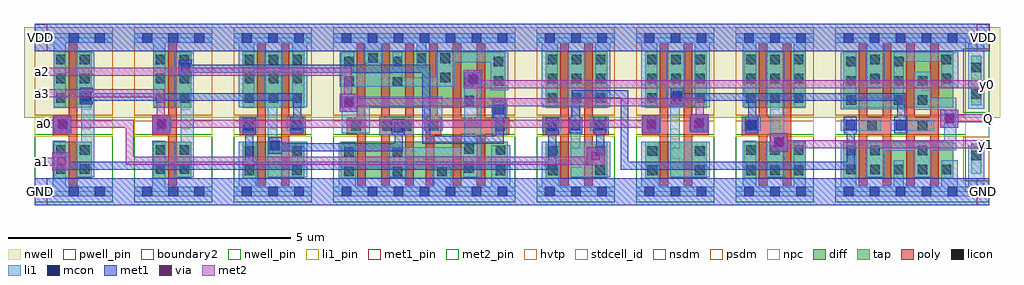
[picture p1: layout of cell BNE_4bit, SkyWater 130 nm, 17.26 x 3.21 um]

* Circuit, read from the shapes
.subckt BNE_4bit GND Q VDD a0 a1 a2 a3 y0 y1
XM1 sky130_fd_sc_hd__nand2_1_5/A a0 GND GND sky130_fd_pr__nfet_01v8 w=0.65 l=0.15
XM2 sky130_fd_sc_hd__a21oi_2_4/B1 a3 GND GND sky130_fd_pr__nfet_01v8 w=0.65 l=0.15
XM3 n1 a1 GND GND sky130_fd_pr__nfet_01v8 w=0.65 l=0.15
XM4 sky130_fd_sc_hd__a21oi_2_4/A1 sky130_fd_sc_hd__nand2_1_5/A n1 GND sky130_fd_pr__nfet_01v8 w=0.65 l=0.15
XM5 n2 a2 GND GND sky130_fd_pr__nfet_01v8 w=0.65 l=0.15
XM6 y0 sky130_fd_sc_hd__a21oi_2_4/A1 n2 GND sky130_fd_pr__nfet_01v8 w=0.65 l=0.15
XM7 n3 sky130_fd_sc_hd__a21oi_2_4/A1 y0 GND sky130_fd_pr__nfet_01v8 w=0.65 l=0.15
XM8 GND a2 n3 GND sky130_fd_pr__nfet_01v8 w=0.65 l=0.15
XM9 y0 sky130_fd_sc_hd__a21oi_2_4/B1 GND GND sky130_fd_pr__nfet_01v8 w=0.65 l=0.15 m=2
XM10 n4 a1 GND GND sky130_fd_pr__nfet_01v8 w=0.65 l=0.15
XM11 sky130_fd_sc_hd__nor2_2_0/A a0 n4 GND sky130_fd_pr__nfet_01v8 w=0.65 l=0.15
XM12 n5 a3 GND GND sky130_fd_pr__nfet_01v8 w=0.65 l=0.15
XM13 sky130_fd_sc_hd__inv_2_2/A a2 n5 GND sky130_fd_pr__nfet_01v8 w=0.65 l=0.15
XM14 y1 sky130_fd_sc_hd__inv_2_2/A GND GND sky130_fd_pr__nfet_01v8 w=0.65 l=0.15 m=2
XM15 Q sky130_fd_sc_hd__nor2_2_0/A GND GND sky130_fd_pr__nfet_01v8 w=0.65 l=0.15 m=2
XM16 Q sky130_fd_sc_hd__inv_2_2/A GND GND sky130_fd_pr__nfet_01v8 w=0.65 l=0.15 m=2
XM17 sky130_fd_sc_hd__nand2_1_5/A a0 VDD VDD sky130_fd_pr__pfet_01v8_hvt w=1 l=0.15
XM18 sky130_fd_sc_hd__a21oi_2_4/B1 a3 VDD VDD sky130_fd_pr__pfet_01v8_hvt w=1 l=0.15
XM19 sky130_fd_sc_hd__a21oi_2_4/A1 a1 VDD VDD sky130_fd_pr__pfet_01v8_hvt w=1 l=0.15
XM20 VDD sky130_fd_sc_hd__nand2_1_5/A sky130_fd_sc_hd__a21oi_2_4/A1 VDD sky130_fd_pr__pfet_01v8_hvt w=1 l=0.15
XM21 VDD a2 n6 VDD sky130_fd_pr__pfet_01v8_hvt w=1 l=0.15 m=2
XM22 n6 sky130_fd_sc_hd__a21oi_2_4/A1 VDD VDD sky130_fd_pr__pfet_01v8_hvt w=1 l=0.15 m=2
XM23 y0 sky130_fd_sc_hd__a21oi_2_4/B1 n6 VDD sky130_fd_pr__pfet_01v8_hvt w=1 l=0.15 m=2
XM24 sky130_fd_sc_hd__nor2_2_0/A a1 VDD VDD sky130_fd_pr__pfet_01v8_hvt w=1 l=0.15
XM25 VDD a0 sky130_fd_sc_hd__nor2_2_0/A VDD sky130_fd_pr__pfet_01v8_hvt w=1 l=0.15
XM26 sky130_fd_sc_hd__inv_2_2/A a3 VDD VDD sky130_fd_pr__pfet_01v8_hvt w=1 l=0.15
XM27 VDD a2 sky130_fd_sc_hd__inv_2_2/A VDD sky130_fd_pr__pfet_01v8_hvt w=1 l=0.15
XM28 y1 sky130_fd_sc_hd__inv_2_2/A VDD VDD sky130_fd_pr__pfet_01v8_hvt w=1 l=0.15 m=2
XM29 VDD sky130_fd_sc_hd__nor2_2_0/A n7 VDD sky130_fd_pr__pfet_01v8_hvt w=1 l=0.15 m=2
XM30 Q sky130_fd_sc_hd__inv_2_2/A n7 VDD sky130_fd_pr__pfet_01v8_hvt w=1 l=0.15 m=2
.ends

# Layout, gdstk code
import gdstk
lib = gdstk.Library(unit=1e-6, precision=1e-09)
def R(c, l, rs):  # rectangles x0, y0, x1, y1
    for r in rs: c.add(gdstk.rectangle(r[:2], r[2:], *l))
def A(c, l, x, y, w, h, nx, ny, dx, dy):  # array of equal rectangles
    R(c, l, [(x+i*dx, y+j*dy, x+i*dx+w, y+j*dy+h) for i in range(nx) for j in range(ny)])
def P(c, l, *ps):  # polygons
    for p in ps: c.add(gdstk.Polygon(p, *l))
nwell_pin = (64, 16)
nwell = (64, 20)
diff = (65, 20)
tap = (65, 44)
poly = (66, 20)
licon = (66, 44)
li1_pin = (67, 16)
li1 = (67, 20)
mcon = (67, 44)
met1_pin = (68, 16)
met1 = (68, 20)
via = (68, 44)
met2_pin = (69, 16)
met2 = (69, 20)
hvtp = (78, 44)
stdcell_id = (81, 4)
nsdm = (93, 44)
psdm = (94, 20)
npc = (95, 20)
pwell_pin = (122, 16)
boundary2 = (236, 0)

sky130_fd_sc_hd__nor2_2 = lib.new_cell('sky130_fd_sc_hd__nor2_2')
R(sky130_fd_sc_hd__nor2_2, nwell_pin, [(0.15,2.635,0.32,2.805)])
R(sky130_fd_sc_hd__nor2_2, nwell, [(-0.19,1.305,2.49,2.91)])
R(sky130_fd_sc_hd__nor2_2, diff, [(0.135,0.235,2.085,0.885), (0.135,1.485,2.085,2.485)])
P(sky130_fd_sc_hd__nor2_2, poly, [(0.985,2.615),(0.835,2.615),(0.835,1.325),(0.565,1.325),(0.565,2.615),(0.415,2.615),(0.415,0.105),(0.565,0.105),(0.565,0.995),(0.835,0.995),(0.835,0.105),(0.985,0.105)],
  [(1.825,2.615),(1.675,2.615),(1.675,1.325),(1.405,1.325),(1.405,2.615),(1.255,2.615),(1.255,0.105),(1.405,0.105),(1.405,0.995),(1.675,0.995),(1.675,0.105),(1.825,0.105)])
A(sky130_fd_sc_hd__nor2_2, licon, 0.195, 0.305, 0.17, 0.17, 5, 1, 0.42, 0)
A(sky130_fd_sc_hd__nor2_2, licon, 0.195, 1.535, 0.17, 0.17, 1, 3, 0, 0.34)
A(sky130_fd_sc_hd__nor2_2, licon, 1.035, 1.535, 0.17, 0.17, 1, 3, 0, 0.34)
R(sky130_fd_sc_hd__nor2_2, licon, [(0.195,0.645,0.365,0.815), (0.615,0.645,0.785,0.815), (1.455,0.645,1.625,0.815), (0.56,1.075,0.73,1.245), (1.455,1.075,1.625,1.245), (1.455,1.535,1.625,1.705), (1.455,1.875,1.625,2.045), (0.615,1.915,0.785,2.085), (1.875,1.915,2.045,2.085), (0.615,2.255,0.785,2.425), (1.875,2.255,2.045,2.425)])
A(sky130_fd_sc_hd__nor2_2, li1_pin, 0.15, 1.105, 0.17, 0.17, 4, 1, 0.46, 0)
R(sky130_fd_sc_hd__nor2_2, li1_pin, [(1.53,1.785,1.7,1.955)])
R(sky130_fd_sc_hd__nor2_2, li1, [(0.09,1.075,0.81,1.275), (0.98,1.075,1.75,1.275)])
P(sky130_fd_sc_hd__nor2_2, li1, [(2.3,0.085),(2.165,0.085),(2.165,0.555),(1.875,0.555),(1.875,0.085),(1.205,0.085),(1.205,0.555),(1.035,0.555),(1.035,0.085),(0.365,0.085),(0.365,0.905),(0.09,0.905),(0.09,0.085),(0,0.085),(0,-0.085),(2.3,-0.085)],
  [(2.3,2.805),(0,2.805),(0,2.635),(0.535,2.635),(0.535,1.835),(0.865,1.835),(0.865,2.635),(2.3,2.635)],
  [(2.135,1.665),(1.705,1.665),(1.705,2.125),(1.375,2.125),(1.375,1.445),(1.92,1.445),(1.92,0.905),(0.535,0.905),(0.535,0.255),(0.865,0.255),(0.865,0.725),(1.375,0.725),(1.375,0.255),(1.705,0.255),(1.705,0.735),(2.135,0.735)],
  [(2.175,2.465),(1.035,2.465),(1.035,1.665),(0.365,1.665),(0.365,2.465),(0.09,2.465),(0.09,1.455),(1.205,1.455),(1.205,2.295),(1.875,2.295),(1.875,1.835),(2.175,1.835)])
A(sky130_fd_sc_hd__nor2_2, mcon, 0.145, -0.085, 0.17, 0.17, 5, 2, 0.46, 2.72)
R(sky130_fd_sc_hd__nor2_2, met1_pin, [(0.15,-0.085,0.32,0.085), (0.15,2.635,0.32,2.805)])
R(sky130_fd_sc_hd__nor2_2, hvtp, [(0,1.25,2.3,2.72)])
R(sky130_fd_sc_hd__nor2_2, stdcell_id, [(0,0,2.3,2.72)])
R(sky130_fd_sc_hd__nor2_2, nsdm, [(0,-0.19,2.3,1.015)])
R(sky130_fd_sc_hd__nor2_2, psdm, [(0,1.355,2.3,2.91)])
R(sky130_fd_sc_hd__nor2_2, npc, [(0,0.975,2.3,1.345)])
R(sky130_fd_sc_hd__nor2_2, pwell_pin, [(0.15,-0.085,0.32,0.085)])
R(sky130_fd_sc_hd__nor2_2, boundary2, [(0,0,2.3,2.72)])
sky130_fd_sc_hd__nor2_2.add(gdstk.FlexPath([(0,2.72),(2.3,2.72)], 0.48, ends="flush", simple_path=True, layer=68, datatype=20))  # met1
sky130_fd_sc_hd__nor2_2.add(gdstk.FlexPath([(0,0),(2.3,0)], 0.48, ends="flush", simple_path=True, layer=68, datatype=20))  # met1
sky130_fd_sc_hd__nor2_2.add(gdstk.Label('B', (1.155,1.19), layer=67, texttype=5))
sky130_fd_sc_hd__nor2_2.add(gdstk.Label('Y', (1.615,1.87), layer=67, texttype=5))
sky130_fd_sc_hd__nor2_2.add(gdstk.Label('A', (0.235,1.19), layer=67, texttype=5))
sky130_fd_sc_hd__nor2_2.add(gdstk.Label('VPB', (0.235,2.72), layer=64, texttype=5))
sky130_fd_sc_hd__nor2_2.add(gdstk.Label('VNB', (0.235,0), layer=64, texttype=59))
sky130_fd_sc_hd__nor2_2.add(gdstk.Label('VGND', (0.235,0), layer=68, texttype=5))
sky130_fd_sc_hd__nor2_2.add(gdstk.Label('VPWR', (0.235,2.72), layer=68, texttype=5))
sky130_fd_sc_hd__nor2_2.add(gdstk.Label('nor2_2', (0,0), layer=83, texttype=44))

sky130_fd_sc_hd__nand2_1 = lib.new_cell('sky130_fd_sc_hd__nand2_1')
R(sky130_fd_sc_hd__nand2_1, nwell_pin, [(0.14,2.635,0.31,2.805)])
R(sky130_fd_sc_hd__nand2_1, nwell, [(-0.19,1.305,1.57,2.91)])
R(sky130_fd_sc_hd__nand2_1, diff, [(0.155,0.235,1.245,0.885), (0.155,1.485,1.245,2.485)])
P(sky130_fd_sc_hd__nand2_1, poly, [(1.275,1.325),(0.985,1.325),(0.985,2.615),(0.835,2.615),(0.835,0.105),(0.985,0.105),(0.985,0.995),(1.275,0.995)],
  [(0.565,2.615),(0.415,2.615),(0.415,1.325),(0.105,1.325),(0.105,0.995),(0.415,0.995),(0.415,0.105),(0.565,0.105)])
A(sky130_fd_sc_hd__nand2_1, licon, 0.195, 1.575, 0.17, 0.17, 3, 3, 0.42, 0.34)
R(sky130_fd_sc_hd__nand2_1, licon, [(0.195,0.295,0.365,0.465), (1.035,0.295,1.205,0.465), (0.195,0.635,0.365,0.805), (1.035,0.635,1.205,0.805), (0.18,1.075,0.35,1.245), (1.02,1.075,1.19,1.245)])
A(sky130_fd_sc_hd__nand2_1, li1_pin, 0.14, 1.105, 0.17, 0.17, 3, 1, 0.46, 0)
R(sky130_fd_sc_hd__nand2_1, li1_pin, [(0.6,0.425,0.77,0.595), (0.6,0.765,0.77,0.935)])
R(sky130_fd_sc_hd__nand2_1, li1, [(0.095,1.055,0.43,1.325), (0.94,1.075,1.275,1.325)])
P(sky130_fd_sc_hd__nand2_1, li1, [(1.38,0.085),(0.395,0.085),(0.395,0.885),(0.085,0.885),(0.085,0.085),(0,0.085),(0,-0.085),(1.38,-0.085)],
  [(1.38,2.805),(0,2.805),(0,2.635),(0.085,2.635),(0.085,1.495),(0.365,1.495),(0.365,2.635),(1.035,2.635),(1.035,1.495),(1.295,1.495),(1.295,2.635),(1.38,2.635)],
  [(1.295,0.885),(0.77,0.885),(0.77,1.485),(0.865,1.485),(0.865,2.465),(0.535,2.465),(0.535,1.485),(0.6,1.485),(0.6,0.255),(1.295,0.255)])
A(sky130_fd_sc_hd__nand2_1, mcon, 0.145, -0.085, 0.17, 0.17, 3, 2, 0.46, 2.72)
R(sky130_fd_sc_hd__nand2_1, met1_pin, [(0.14,-0.085,0.31,0.085), (0.14,2.635,0.31,2.805)])
R(sky130_fd_sc_hd__nand2_1, hvtp, [(0,1.25,1.38,2.72)])
R(sky130_fd_sc_hd__nand2_1, stdcell_id, [(0,0,1.38,2.72)])
R(sky130_fd_sc_hd__nand2_1, nsdm, [(0,-0.19,1.38,1.015)])
R(sky130_fd_sc_hd__nand2_1, psdm, [(0,1.355,1.38,2.91)])
R(sky130_fd_sc_hd__nand2_1, npc, [(0,0.975,1.38,1.345)])
R(sky130_fd_sc_hd__nand2_1, pwell_pin, [(0.14,-0.085,0.31,0.085)])
R(sky130_fd_sc_hd__nand2_1, boundary2, [(0,0,1.38,2.72)])
sky130_fd_sc_hd__nand2_1.add(gdstk.FlexPath([(0,2.72),(1.38,2.72)], 0.48, ends="flush", simple_path=True, layer=68, datatype=20))  # met1
sky130_fd_sc_hd__nand2_1.add(gdstk.FlexPath([(0,0),(1.38,0)], 0.48, ends="flush", simple_path=True, layer=68, datatype=20))  # met1
sky130_fd_sc_hd__nand2_1.add(gdstk.Label('Y', (0.685,0.51), layer=67, texttype=5))
sky130_fd_sc_hd__nand2_1.add(gdstk.Label('Y', (0.685,0.85), layer=67, texttype=5))
sky130_fd_sc_hd__nand2_1.add(gdstk.Label('Y', (0.685,1.19), layer=67, texttype=5))
sky130_fd_sc_hd__nand2_1.add(gdstk.Label('B', (0.225,1.19), layer=67, texttype=5))
sky130_fd_sc_hd__nand2_1.add(gdstk.Label('A', (1.145,1.19), layer=67, texttype=5))
sky130_fd_sc_hd__nand2_1.add(gdstk.Label('VPB', (0.225,2.72), layer=64, texttype=5))
sky130_fd_sc_hd__nand2_1.add(gdstk.Label('VNB', (0.225,0), layer=64, texttype=59))
sky130_fd_sc_hd__nand2_1.add(gdstk.Label('VGND', (0.23,0), layer=68, texttype=5))
sky130_fd_sc_hd__nand2_1.add(gdstk.Label('VPWR', (0.225,2.72), layer=68, texttype=5))
sky130_fd_sc_hd__nand2_1.add(gdstk.Label('nand2_1', (0,0), layer=83, texttype=44))

sky130_fd_sc_hd__inv_2 = lib.new_cell('sky130_fd_sc_hd__inv_2')
R(sky130_fd_sc_hd__inv_2, nwell_pin, [(0.145,2.635,0.315,2.805)])
R(sky130_fd_sc_hd__inv_2, nwell, [(-0.19,1.305,1.57,2.91)])
R(sky130_fd_sc_hd__inv_2, diff, [(0.145,0.235,1.235,0.885), (0.145,1.485,1.235,2.485)])
P(sky130_fd_sc_hd__inv_2, poly, [(0.975,2.615),(0.825,2.615),(0.825,1.325),(0.555,1.325),(0.555,2.615),(0.405,2.615),(0.405,1.325),(0.105,1.325),(0.105,0.995),(0.405,0.995),(0.405,0.105),(0.555,0.105),(0.555,0.995),(0.825,0.995),(0.825,0.105),(0.975,0.105)])
A(sky130_fd_sc_hd__inv_2, licon, 0.185, 0.295, 0.17, 0.17, 3, 2, 0.42, 0.36)
A(sky130_fd_sc_hd__inv_2, licon, 0.185, 1.575, 0.17, 0.17, 3, 3, 0.42, 0.34)
R(sky130_fd_sc_hd__inv_2, licon, [(0.185,1.075,0.355,1.245)])
A(sky130_fd_sc_hd__inv_2, li1_pin, 0.605, 0.765, 0.17, 0.17, 1, 3, 0, 0.34)
R(sky130_fd_sc_hd__inv_2, li1_pin, [(0.145,1.105,0.315,1.275)])
R(sky130_fd_sc_hd__inv_2, li1, [(0.105,1.075,0.435,1.325)])
P(sky130_fd_sc_hd__inv_2, li1, [(1.38,2.805),(0,2.805),(0,2.635),(0.125,2.635),(0.125,1.495),(0.355,1.495),(0.355,2.635),(1.025,2.635),(1.025,1.495),(1.235,1.495),(1.235,2.635),(1.38,2.635)],
  [(0.855,2.465),(0.525,2.465),(0.525,1.485),(0.605,1.485),(0.605,0.885),(0.525,0.885),(0.525,0.255),(0.855,0.255)],
  [(1.38,0.085),(1.235,0.085),(1.235,0.905),(1.025,0.905),(1.025,0.085),(0.355,0.085),(0.355,0.905),(0.125,0.905),(0.125,0.085),(0,0.085),(0,-0.085),(1.38,-0.085)])
A(sky130_fd_sc_hd__inv_2, mcon, 0.145, -0.085, 0.17, 0.17, 3, 2, 0.46, 2.72)
R(sky130_fd_sc_hd__inv_2, met1_pin, [(0.145,-0.085,0.315,0.085), (0.145,2.635,0.315,2.805)])
R(sky130_fd_sc_hd__inv_2, hvtp, [(0,1.25,1.38,2.72)])
R(sky130_fd_sc_hd__inv_2, stdcell_id, [(0,0,1.38,2.72)])
R(sky130_fd_sc_hd__inv_2, nsdm, [(0,-0.19,1.38,1.015)])
R(sky130_fd_sc_hd__inv_2, psdm, [(0,1.355,1.38,2.91)])
R(sky130_fd_sc_hd__inv_2, npc, [(0,0.975,1.38,1.345)])
R(sky130_fd_sc_hd__inv_2, pwell_pin, [(0.145,-0.085,0.315,0.085)])
R(sky130_fd_sc_hd__inv_2, boundary2, [(0,0,1.38,2.72)])
sky130_fd_sc_hd__inv_2.add(gdstk.FlexPath([(0,2.72),(1.38,2.72)], 0.48, ends="flush", simple_path=True, layer=68, datatype=20))  # met1
sky130_fd_sc_hd__inv_2.add(gdstk.FlexPath([(0,0),(1.38,0)], 0.48, ends="flush", simple_path=True, layer=68, datatype=20))  # met1
sky130_fd_sc_hd__inv_2.add(gdstk.Label('A', (0.23,1.19), layer=67, texttype=5))
sky130_fd_sc_hd__inv_2.add(gdstk.Label('Y', (0.69,0.85), layer=67, texttype=5))
sky130_fd_sc_hd__inv_2.add(gdstk.Label('Y', (0.69,1.53), layer=67, texttype=5))
sky130_fd_sc_hd__inv_2.add(gdstk.Label('Y', (0.69,1.19), layer=67, texttype=5))
sky130_fd_sc_hd__inv_2.add(gdstk.Label('VPB', (0.23,2.72), layer=64, texttype=5))
sky130_fd_sc_hd__inv_2.add(gdstk.Label('VNB', (0.23,0), layer=64, texttype=59))
sky130_fd_sc_hd__inv_2.add(gdstk.Label('VPWR', (0.23,2.72), layer=68, texttype=5))
sky130_fd_sc_hd__inv_2.add(gdstk.Label('VGND', (0.23,0), layer=68, texttype=5))
sky130_fd_sc_hd__inv_2.add(gdstk.Label('inv_2', (0,0), layer=83, texttype=44))

sky130_fd_sc_hd__a21oi_2 = lib.new_cell('sky130_fd_sc_hd__a21oi_2')
R(sky130_fd_sc_hd__a21oi_2, nwell_pin, [(0.145,2.635,0.315,2.805)])
R(sky130_fd_sc_hd__a21oi_2, nwell, [(-0.19,1.305,3.41,2.91)])
R(sky130_fd_sc_hd__a21oi_2, diff, [(0.135,0.235,3.085,0.885), (0.135,1.485,3.045,2.485)])
R(sky130_fd_sc_hd__a21oi_2, poly, [(0.42,0.105,0.57,1.295)])
P(sky130_fd_sc_hd__a21oi_2, poly, [(1.425,2.615),(1.275,2.615),(1.275,1.325),(0.995,1.325),(0.995,2.615),(0.845,2.615),(0.845,1.325),(0.815,1.325),(0.815,0.995),(0.845,0.995),(0.845,0.105),(0.995,0.105),(0.995,0.995),(1.275,0.995),(1.275,0.105),(1.425,0.105)],
  [(1.905,1.325),(1.845,1.325),(1.845,2.615),(1.695,2.615),(1.695,1.325),(1.635,1.325),(1.635,0.105),(1.785,0.105),(1.785,0.995),(1.905,0.995)],
  [(3.115,1.305),(2.685,1.305),(2.685,2.615),(2.535,2.615),(2.535,1.305),(2.265,1.305),(2.265,2.615),(2.115,2.615),(2.115,0.105),(2.265,0.105),(2.265,1.015),(2.535,1.015),(2.535,0.105),(2.685,0.105),(2.685,1.015),(3.115,1.015)],
  [(0.565,2.615),(0.415,2.615),(0.415,1.305),(0.235,1.305),(0.235,1.015),(0.565,1.015)])
R(sky130_fd_sc_hd__a21oi_2, licon, [(0.195,0.275,0.365,0.445), (1.05,0.275,1.22,0.445), (1.84,0.275,2.01,0.445), (2.875,0.295,3.045,0.465), (2.315,0.335,2.485,0.505), (0.195,0.615,0.365,0.785), (1.05,0.615,1.22,0.785), (2.875,0.655,3.045,0.825), (2.315,0.675,2.485,0.845), (0.315,1.075,0.485,1.245), (0.865,1.075,1.035,1.245), (1.205,1.075,1.375,1.245), (1.685,1.075,1.855,1.245), (2.865,1.075,3.035,1.245), (2.315,1.525,2.485,1.695), (1.05,1.855,1.22,2.025), (2.315,1.865,2.485,2.035), (0.19,1.875,0.36,2.045), (2.835,1.875,3.005,2.045), (1.895,1.935,2.065,2.105), (0.19,2.215,0.36,2.385), (1.05,2.215,1.22,2.385), (2.835,2.215,3.005,2.385), (0.62,2.275,0.79,2.445), (1.475,2.275,1.645,2.445), (1.895,2.275,2.065,2.445)])
R(sky130_fd_sc_hd__a21oi_2, li1_pin, [(2.445,0.425,2.615,0.595), (1.065,1.105,1.235,1.275), (2.905,1.105,3.075,1.275), (0.145,1.445,0.315,1.615), (2.905,1.445,3.075,1.615)])
R(sky130_fd_sc_hd__a21oi_2, li1, [(0.815,0.995,1.425,1.325), (2.8,0.995,3.075,1.625)])
P(sky130_fd_sc_hd__a21oi_2, li1, [(3.22,0.085),(3.125,0.085),(3.125,0.825),(2.795,0.825),(2.795,0.085),(2.09,0.085),(2.09,0.445),(1.76,0.445),(1.76,0.085),(0.395,0.085),(0.395,0.865),(0.1,0.865),(0.1,0.085),(0,0.085),(0,-0.085),(3.22,-0.085)],
  [(3.22,2.805),(0,2.805),(0,2.635),(0.54,2.635),(0.54,2.275),(0.87,2.275),(0.87,2.635),(1.475,2.635),(1.475,2.195),(1.645,2.195),(1.645,2.635),(3.22,2.635)],
  [(3.09,2.465),(1.815,2.465),(1.815,2.025),(1.22,2.025),(1.22,2.465),(1.05,2.465),(1.05,2.105),(0.37,2.105),(0.37,2.465),(0.11,2.465),(0.11,1.855),(2.145,1.855),(2.145,2.285),(2.785,2.285),(2.785,1.795),(3.09,1.795)],
  [(1.935,1.245),(1.93,1.245),(1.93,1.675),(0.145,1.675),(0.145,1.035),(0.645,1.035),(0.645,1.495),(1.605,1.495),(1.605,1.075),(1.935,1.075)],
  [(2.615,2.115),(2.315,2.115),(2.315,0.785),(0.955,0.785),(0.955,0.255),(1.3,0.255),(1.3,0.615),(2.295,0.615),(2.295,0.255),(2.615,0.255)])
A(sky130_fd_sc_hd__a21oi_2, mcon, 0.145, -0.085, 0.17, 0.17, 7, 2, 0.46, 2.72)
R(sky130_fd_sc_hd__a21oi_2, met1_pin, [(0.145,-0.085,0.315,0.085), (0.145,2.635,0.315,2.805)])
R(sky130_fd_sc_hd__a21oi_2, hvtp, [(0,1.25,3.22,2.72)])
R(sky130_fd_sc_hd__a21oi_2, stdcell_id, [(0,0,3.22,2.72)])
R(sky130_fd_sc_hd__a21oi_2, nsdm, [(0,-0.19,3.22,1.015)])
R(sky130_fd_sc_hd__a21oi_2, psdm, [(0,1.355,3.22,2.91)])
R(sky130_fd_sc_hd__a21oi_2, npc, [(0,0.975,3.22,1.345)])
R(sky130_fd_sc_hd__a21oi_2, pwell_pin, [(0.145,-0.085,0.315,0.085)])
R(sky130_fd_sc_hd__a21oi_2, boundary2, [(0,0,3.22,2.72)])
sky130_fd_sc_hd__a21oi_2.add(gdstk.FlexPath([(0,2.72),(3.22,2.72)], 0.48, ends="flush", simple_path=True, layer=68, datatype=20))  # met1
sky130_fd_sc_hd__a21oi_2.add(gdstk.FlexPath([(0,0),(3.22,0)], 0.48, ends="flush", simple_path=True, layer=68, datatype=20))  # met1
sky130_fd_sc_hd__a21oi_2.add(gdstk.Label('B1', (2.99,1.19), layer=67, texttype=5))
sky130_fd_sc_hd__a21oi_2.add(gdstk.Label('B1', (2.99,1.53), layer=67, texttype=5))
sky130_fd_sc_hd__a21oi_2.add(gdstk.Label('A2', (0.23,1.53), layer=67, texttype=5))
sky130_fd_sc_hd__a21oi_2.add(gdstk.Label('A1', (1.15,1.19), layer=67, texttype=5))
sky130_fd_sc_hd__a21oi_2.add(gdstk.Label('Y', (2.53,0.51), layer=67, texttype=5))
sky130_fd_sc_hd__a21oi_2.add(gdstk.Label('VNB', (0.23,0), layer=64, texttype=59))
sky130_fd_sc_hd__a21oi_2.add(gdstk.Label('VPB', (0.23,2.72), layer=64, texttype=5))
sky130_fd_sc_hd__a21oi_2.add(gdstk.Label('VGND', (0.23,0), layer=68, texttype=5))
sky130_fd_sc_hd__a21oi_2.add(gdstk.Label('VPWR', (0.23,2.72), layer=68, texttype=5))
sky130_fd_sc_hd__a21oi_2.add(gdstk.Label('a21oi_2', (0,0), layer=83, texttype=44))

sky130_fd_sc_hd__inv_1 = lib.new_cell('sky130_fd_sc_hd__inv_1')
R(sky130_fd_sc_hd__inv_1, nwell_pin, [(0.145,2.635,0.315,2.805), (0.145,2.635,0.315,2.805)])
R(sky130_fd_sc_hd__inv_1, nwell, [(-0.19,1.305,1.57,2.91)])
R(sky130_fd_sc_hd__inv_1, diff, [(0.34,0.235,1.01,0.885), (0.34,1.485,1.01,2.485)])
P(sky130_fd_sc_hd__inv_1, poly, [(0.75,2.615),(0.6,2.615),(0.6,1.325),(0.32,1.325),(0.32,0.995),(0.6,0.995),(0.6,0.105),(0.75,0.105)])
A(sky130_fd_sc_hd__inv_1, licon, 0.38, 1.575, 0.17, 0.17, 1, 3, 0, 0.34)
A(sky130_fd_sc_hd__inv_1, licon, 0.8, 1.575, 0.17, 0.17, 1, 3, 0, 0.34)
R(sky130_fd_sc_hd__inv_1, licon, [(0.38,0.315,0.55,0.485), (0.8,0.315,0.97,0.485), (0.38,0.655,0.55,0.825), (0.8,0.655,0.97,0.825), (0.4,1.075,0.57,1.245)])
R(sky130_fd_sc_hd__inv_1, li1_pin, [(0.36,1.105,0.53,1.275), (0.82,1.105,0.99,1.275), (0.82,1.445,0.99,1.615)])
R(sky130_fd_sc_hd__inv_1, li1, [(0,-0.085,1.38,0.085), (0.32,0.005,0.55,0.905), (0.32,1.075,0.65,1.315), (0.34,1.495,0.55,2.675), (0,2.635,1.38,2.805)])
P(sky130_fd_sc_hd__inv_1, li1, [(1.05,2.465),(0.72,2.465),(0.72,1.485),(0.82,1.485),(0.82,0.885),(0.72,0.885),(0.72,0.255),(1.05,0.255)])
A(sky130_fd_sc_hd__inv_1, mcon, 0.145, -0.085, 0.17, 0.17, 3, 2, 0.46, 2.72)
R(sky130_fd_sc_hd__inv_1, met1_pin, [(0.145,-0.085,0.315,0.085), (0.145,-0.085,0.315,0.085), (0.145,2.635,0.315,2.805), (0.145,2.635,0.315,2.805)])
R(sky130_fd_sc_hd__inv_1, hvtp, [(0,1.25,1.38,2.72)])
R(sky130_fd_sc_hd__inv_1, stdcell_id, [(0,0,1.38,2.72)])
R(sky130_fd_sc_hd__inv_1, nsdm, [(0,-0.19,1.38,1.015)])
R(sky130_fd_sc_hd__inv_1, psdm, [(0,1.355,1.38,2.91)])
R(sky130_fd_sc_hd__inv_1, npc, [(0,0.975,1.38,1.345)])
R(sky130_fd_sc_hd__inv_1, pwell_pin, [(0.145,-0.085,0.315,0.085), (0.145,-0.085,0.315,0.085)])
R(sky130_fd_sc_hd__inv_1, boundary2, [(0,0,1.38,2.72)])
sky130_fd_sc_hd__inv_1.add(gdstk.FlexPath([(0,2.72),(1.38,2.72)], 0.48, ends="flush", simple_path=True, layer=68, datatype=20))  # met1
sky130_fd_sc_hd__inv_1.add(gdstk.FlexPath([(0,0),(1.38,0)], 0.48, ends="flush", simple_path=True, layer=68, datatype=20))  # met1
sky130_fd_sc_hd__inv_1.add(gdstk.Label('Y', (0.905,1.53), layer=67, texttype=5))
sky130_fd_sc_hd__inv_1.add(gdstk.Label('Y', (0.905,1.19), layer=67, texttype=5))
sky130_fd_sc_hd__inv_1.add(gdstk.Label('A', (0.445,1.19), layer=67, texttype=5))
sky130_fd_sc_hd__inv_1.add(gdstk.Label('VPB', (0.23,2.72), layer=64, texttype=5))
sky130_fd_sc_hd__inv_1.add(gdstk.Label('VNB', (0.23,0), layer=64, texttype=59))
sky130_fd_sc_hd__inv_1.add(gdstk.Label('VGND', (0.23,0), layer=68, texttype=5))
sky130_fd_sc_hd__inv_1.add(gdstk.Label('VPWR', (0.23,2.72), layer=68, texttype=5))
sky130_fd_sc_hd__inv_1.add(gdstk.Label('inv_1', (0,0), layer=83, texttype=44))

sky130_fd_sc_hd__tapvpwr = lib.new_cell('sky130_fd_sc_hd__tapvpwrvgnd_1')
R(sky130_fd_sc_hd__tapvpwr, nwell, [(-0.19,1.305,0.65,2.91)])
R(sky130_fd_sc_hd__tapvpwr, tap, [(0.145,0.32,0.315,0.845), (0.145,1.525,0.315,2.4)])
R(sky130_fd_sc_hd__tapvpwr, licon, [(0.145,0.555,0.315,0.725), (0.145,1.645,0.315,1.815), (0.145,2.11,0.315,2.28)])
R(sky130_fd_sc_hd__tapvpwr, li1, [(0,-0.085,0.46,0.085), (0.085,0,0.375,0.81), (0.085,1.47,0.375,2.72), (0,2.635,0.46,2.805)])
R(sky130_fd_sc_hd__tapvpwr, mcon, [(0.145,-0.085,0.315,0.085), (0.145,2.635,0.315,2.805)])
R(sky130_fd_sc_hd__tapvpwr, met1_pin, [(0.105,-0.09,0.36,0.1), (0.11,2.62,0.375,2.765)])
R(sky130_fd_sc_hd__tapvpwr, met1, [(0,-0.24,0.46,0.24), (0,2.48,0.46,2.96)])
R(sky130_fd_sc_hd__tapvpwr, hvtp, [(0,1.25,0.46,2.72)])
R(sky130_fd_sc_hd__tapvpwr, stdcell_id, [(0,0,0.46,2.72)])
R(sky130_fd_sc_hd__tapvpwr, nsdm, [(0,-0.19,0.46,0.19), (0,1.395,0.46,2.53)])
R(sky130_fd_sc_hd__tapvpwr, psdm, [(0,0.19,0.46,0.975), (0,2.53,0.46,2.91)])
sky130_fd_sc_hd__tapvpwr.add(gdstk.Label('VPWR', (0.23,2.72), layer=68, texttype=5))
sky130_fd_sc_hd__tapvpwr.add(gdstk.Label('VGND', (0.23,0), layer=68, texttype=5))
sky130_fd_sc_hd__tapvpwr.add(gdstk.Label('tapvpwrvgnd_1', (0,0), layer=83, texttype=44))

bne_4bit = lib.new_cell('BNE_4bit')
R(bne_4bit, li1, [(4.355,0.975,4.525,1.145), (13.27,1.03,13.44,1.2), (6.535,1.295,6.705,1.465), (3.895,1.315,4.065,1.485), (9.255,1.315,9.425,1.485), (9.67,1.33,9.84,1.5), (4.74,1.335,4.91,1.505), (10.1,1.335,10.27,1.505), (12.785,1.335,12.955,1.505), (14.53,1.335,14.7,1.505), (15.42,1.335,15.59,1.505), (0.6,1.35,0.77,1.52), (2.35,1.35,2.52,1.52), (11.01,1.35,11.18,1.52), (11.86,1.37,12.03,1.54), (16.28,1.45,16.45,1.62), (8.32,1.605,8.49,1.775), (5.66,1.73,5.83,1.9), (1.02,1.845,1.19,2.015), (11.47,1.845,11.64,2.015), (7.86,2.15,8.03,2.32), (2.77,2.345,2.94,2.515)])
R(bne_4bit, mcon, [(4.355,0.975,4.525,1.145), (13.27,1.03,13.44,1.2), (6.535,1.295,6.705,1.465), (3.895,1.315,4.065,1.485), (9.255,1.315,9.425,1.485), (9.67,1.33,9.84,1.5), (4.74,1.335,4.91,1.505), (10.1,1.335,10.27,1.505), (12.785,1.335,12.955,1.505), (14.53,1.335,14.7,1.505), (15.42,1.335,15.59,1.505), (0.6,1.35,0.77,1.52), (2.35,1.35,2.52,1.52), (11.01,1.35,11.18,1.52), (11.86,1.37,12.03,1.54), (16.28,1.45,16.45,1.62), (8.32,1.605,8.49,1.775), (5.66,1.73,5.83,1.9), (1.02,1.845,1.19,2.015), (11.47,1.845,11.64,2.015), (7.86,2.15,8.03,2.32), (2.77,2.345,2.94,2.515)])
R(bne_4bit, met1_pin, [(0.19,0,0.41,0.48), (16.85,0,17.07,0.48), (0.19,2.72,0.41,3.2), (16.85,2.72,17.07,3.2)])
R(bne_4bit, met1, [(0.19,0,17.07,0.48), (0.5,0.62,0.82,0.625), (0.5,0.625,9.415,0.765), (10.55,0.63,14.69,0.77), (9.95,0.71,10.27,1.03), (0.5,0.765,0.82,0.94), (3.915,0.765,4.055,1.255), (9.275,0.765,9.415,1.255), (10.55,0.77,10.69,1.89), (14.55,0.77,14.69,1.275), (4.325,0.915,4.555,0.955), (13.19,0.95,13.51,1.27), (4.325,0.955,6.695,1.095), (10.12,1.03,10.26,1.275), (7.04,1.085,8.48,1.225), (4.325,1.095,4.555,1.205), (6.555,1.095,6.695,1.235), (7.04,1.225,7.18,2.345), (8.34,1.225,8.48,1.545), (6.505,1.235,6.735,1.525), (3.865,1.255,4.095,1.545), (9.225,1.255,9.455,1.545), (0.52,1.27,0.84,1.59), (2.27,1.27,2.59,1.59), (9.64,1.27,9.87,1.56), (10.93,1.27,11.25,1.59), (4.71,1.275,4.94,1.565), (10.07,1.275,10.3,1.565), (12.755,1.275,12.985,1.565), (14.5,1.275,14.73,1.565), (15.39,1.275,15.62,1.565), (11.78,1.29,12.1,1.61), (16.2,1.37,16.52,1.69), (8.29,1.545,8.52,1.835), (9.69,1.56,9.83,1.89), (4.76,1.565,4.9,1.845), (12.805,1.565,12.945,1.845), (15.44,1.565,15.58,1.845), (5.58,1.65,5.9,1.97), (0.99,1.785,1.22,1.845), (11.44,1.785,11.67,1.845), (0.99,1.845,4.9,1.985), (11.44,1.845,15.58,1.985), (9.69,1.89,10.69,2.03), (0.99,1.985,1.22,2.075), (11.44,1.985,11.67,2.075), (7.78,2.07,8.1,2.39), (2.74,2.285,2.97,2.345), (2.74,2.345,7.18,2.485), (2.74,2.485,2.97,2.575), (0.19,2.72,17.08,3.21)])
R(bne_4bit, via, [(0.585,0.705,0.735,0.855), (10.035,0.795,10.185,0.945), (13.275,1.035,13.425,1.185), (0.605,1.355,0.755,1.505), (2.355,1.355,2.505,1.505), (11.015,1.355,11.165,1.505), (11.865,1.375,12.015,1.525), (16.285,1.455,16.435,1.605), (5.665,1.735,5.815,1.885), (7.865,2.155,8.015,2.305)])
R(bne_4bit, met2_pin, [(0.25,0.7,0.39,0.84), (16.95,1.01,17.09,1.15), (0.3,1.37,0.44,1.51), (16.99,1.47,17.13,1.61), (0.25,1.91,0.39,2.05), (16.97,2.07,17.11,2.21), (0.26,2.29,0.4,2.43)])
R(bne_4bit, met2, [(0.5,0.62,0.82,0.7), (0.25,0.7,0.82,0.84), (9.95,0.71,10.27,0.72), (1.8,0.72,10.27,0.86), (0.5,0.84,0.82,0.94), (1.8,0.86,1.94,1.37), (9.95,0.86,10.27,1.03), (13.19,0.95,13.51,1.01), (13.19,1.01,17.09,1.15), (13.19,1.15,13.51,1.27), (0.52,1.27,0.84,1.37), (2.27,1.27,2.59,1.37), (10.93,1.27,11.25,1.37), (11.78,1.29,12.1,1.61), (0.3,1.37,1.94,1.51), (2.27,1.37,11.25,1.51), (16.2,1.37,16.52,1.47), (16.2,1.47,17.13,1.61), (0.52,1.51,0.84,1.59), (2.27,1.51,2.59,1.59), (10.93,1.51,11.25,1.59), (2.35,1.59,2.49,1.91), (11.88,1.61,12.02,1.75), (16.2,1.61,16.52,1.69), (5.58,1.65,5.9,1.75), (5.58,1.75,12.02,1.89), (5.58,1.89,5.9,1.97), (0.25,1.91,2.49,2.05), (5.66,1.97,5.8,2.29), (7.78,2.07,17.11,2.21), (7.78,2.21,8.1,2.39), (0.26,2.29,5.8,2.43)])
bne_4bit.add(gdstk.Reference(sky130_fd_sc_hd__nor2_2, (14.35,0.24)))
bne_4bit.add(gdstk.Reference(sky130_fd_sc_hd__nand2_1, (9.07,0.24)))
bne_4bit.add(gdstk.Reference(sky130_fd_sc_hd__inv_2, (12.59,0.24)))
bne_4bit.add(gdstk.Reference(sky130_fd_sc_hd__nand2_1, (10.83,0.24)))
bne_4bit.add(gdstk.Reference(sky130_fd_sc_hd__a21oi_2, (5.47,0.24)))
bne_4bit.add(gdstk.Reference(sky130_fd_sc_hd__nand2_1, (3.71,0.24)))
bne_4bit.add(gdstk.Reference(sky130_fd_sc_hd__inv_1, (1.95,0.24)))
bne_4bit.add(gdstk.Reference(sky130_fd_sc_hd__inv_1, (0.19,0.24)))
bne_4bit.add(gdstk.Reference(sky130_fd_sc_hd__tapvpwr, (16.61,0.24)))
bne_4bit.add(gdstk.Label('VDD', (0.3,2.96), layer=68, texttype=5))
bne_4bit.add(gdstk.Label('VDD', (16.96,2.96), layer=68, texttype=5))
bne_4bit.add(gdstk.Label('GND', (16.96,0.24), layer=68, texttype=5))
bne_4bit.add(gdstk.Label('GND', (0.3,0.24), layer=68, texttype=5))
bne_4bit.add(gdstk.Label('a2', (0.33,2.36), layer=69, texttype=5))
bne_4bit.add(gdstk.Label('a3', (0.32,1.98), layer=69, texttype=5))
bne_4bit.add(gdstk.Label('a0', (0.37,1.44), layer=69, texttype=5))
bne_4bit.add(gdstk.Label('a1', (0.32,0.77), layer=69, texttype=5))
bne_4bit.add(gdstk.Label('y0', (17.04,2.14), layer=69, texttype=5))
bne_4bit.add(gdstk.Label('Q', (17.06,1.54), layer=69, texttype=5))
bne_4bit.add(gdstk.Label('y1', (17.02,1.08), layer=69, texttype=5))

lib.write_gds('BNE_4bit.gds')
